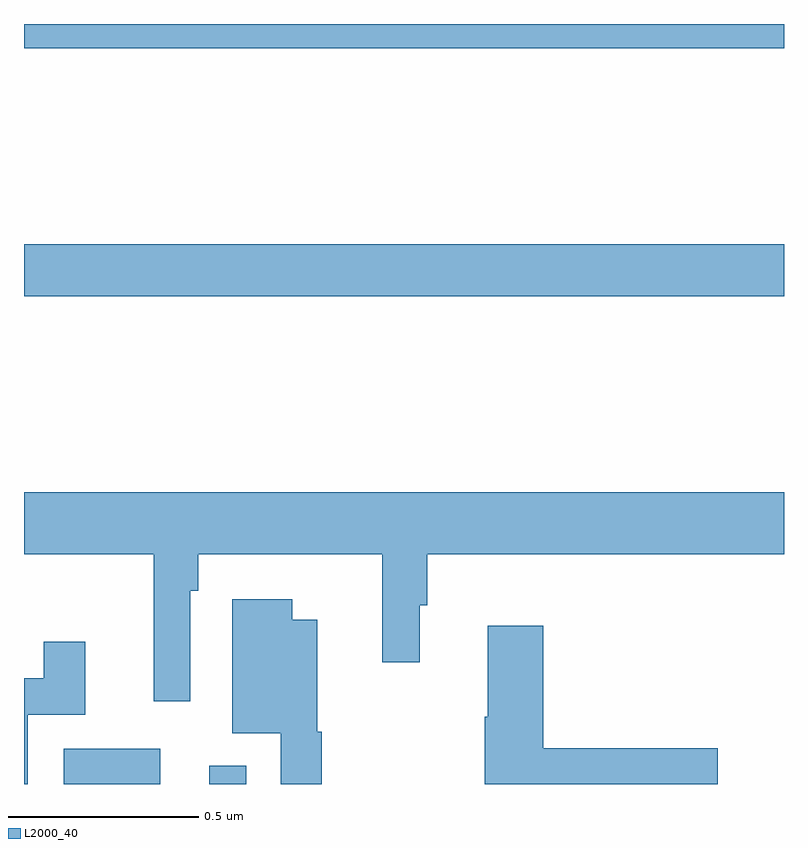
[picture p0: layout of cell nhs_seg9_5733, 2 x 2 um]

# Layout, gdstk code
import gdstk
lib = gdstk.Library(unit=1e-6, precision=1e-09)
def R(c, l, rs):  # rectangles x0, y0, x1, y1
    for r in rs: c.add(gdstk.rectangle(r[:2], r[2:], *l))
def P(c, l, *ps):  # polygons
    for p in ps: c.add(gdstk.Polygon(p, *l))
L2000_40 = (2000, 40)

nhs_seg9_5733 = lib.new_cell('nhs_seg9_5733')
R(nhs_seg9_5733, L2000_40, [(183.104,1178.5,183.358,1178.593), (183.488,1178.5,183.585,1178.548), (183,1179.784,185,1179.92), (183,1180.436,185,1180.5)])
P(nhs_seg9_5733, L2000_40, [(183.438,1179.008),(183.458,1179.008),(183.458,1179.104),(183.943,1179.104),(183.943,1178.82),(184.042,1178.82),(184.042,1178.97),(184.061,1178.97),(184.061,1179.104),(185,1179.104),(185,1179.268),(183,1179.268),(183,1179.104),(183.341,1179.104),(183.341,1178.718),(183.438,1178.718)],
  [(183.784,1178.637),(183.772,1178.637),(183.772,1178.932),(183.706,1178.932),(183.706,1178.986),(183.548,1178.986),(183.548,1178.633),(183.675,1178.633),(183.675,1178.5),(183.784,1178.5)],
  [(184.825,1178.594),(184.367,1178.594),(184.367,1178.917),(184.22,1178.917),(184.22,1178.677),(184.213,1178.677),(184.213,1178.5),(184.825,1178.5)],
  [(183.01,1178.682),(183.161,1178.682),(183.161,1178.875),(183.052,1178.875),(183.052,1178.778),(183,1178.778),(183,1178.5),(183.01,1178.5)])

lib.write_gds('nhs_seg9_5733.gds')
